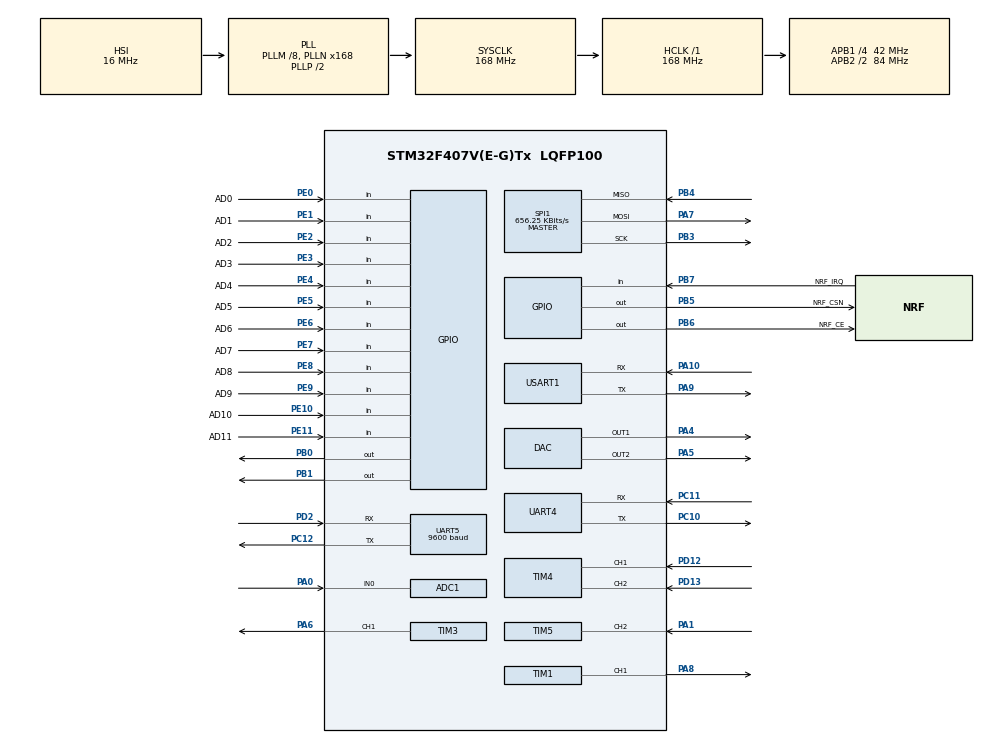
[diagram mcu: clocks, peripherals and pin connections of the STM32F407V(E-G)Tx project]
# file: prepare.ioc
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ADC1.Channel-0\#ChannelRegularConversion=ADC_CHANNEL_0
ADC1.DMAContinuousRequests=ENABLE
ADC1.ExternalTrigConv=ADC_EXTERNALTRIGCONV_T2_TRGO
ADC1.NbrOfConversionFlag=1
ADC1.Rank-0\#ChannelRegularConversion=1
ADC1.SamplingTime-0\#ChannelRegularConversion=ADC_SAMPLETIME_144CYCLES
ADC1.master=1
DAC.DAC_Trigger=DAC_TRIGGER_T6_TRGO
DAC.DAC_Trigger2=DAC_TRIGGER_SOFTWARE
Dma.ADC1.0.Direction=DMA_PERIPH_TO_MEMORY
Dma.ADC1.0.FIFOMode=DMA_FIFOMODE_DISABLE
Dma.ADC1.0.Instance=DMA2_Stream0
Dma.ADC1.0.MemDataAlignment=DMA_MDATAALIGN_HALFWORD
Dma.ADC1.0.MemInc=DMA_MINC_ENABLE
Dma.ADC1.0.Mode=DMA_CIRCULAR
Dma.ADC1.0.PeriphDataAlignment=DMA_PDATAALIGN_HALFWORD
Dma.ADC1.0.PeriphInc=DMA_PINC_DISABLE
Dma.ADC1.0.Priority=DMA_PRIORITY_VERY_HIGH
Dma.DAC1.2.Direction=DMA_MEMORY_TO_PERIPH
Dma.DAC1.2.FIFOMode=DMA_FIFOMODE_DISABLE
Dma.DAC1.2.Instance=DMA1_Stream5
Dma.DAC1.2.MemDataAlignment=DMA_MDATAALIGN_HALFWORD
Dma.DAC1.2.MemInc=DMA_MINC_ENABLE
Dma.DAC1.2.Mode=DMA_CIRCULAR
Dma.DAC1.2.PeriphDataAlignment=DMA_PDATAALIGN_HALFWORD
Dma.DAC1.2.PeriphInc=DMA_PINC_DISABLE
Dma.DAC1.2.Priority=DMA_PRIORITY_HIGH
Dma.Request0=ADC1
Dma.Request1=UART4_TX
Dma.Request2=DAC1
Dma.UART4_TX.1.Direction=DMA_MEMORY_TO_PERIPH
Dma.UART4_TX.1.FIFOMode=DMA_FIFOMODE_DISABLE
Dma.UART4_TX.1.Instance=DMA1_Stream4
Dma.UART4_TX.1.MemDataAlignment=DMA_MDATAALIGN_BYTE
Dma.UART4_TX.1.MemInc=DMA_MINC_ENABLE
Dma.UART4_TX.1.Mode=DMA_NORMAL
Dma.UART4_TX.1.PeriphDataAlignment=DMA_PDATAALIGN_BYTE
Dma.UART4_TX.1.PeriphInc=DMA_PINC_DISABLE
Dma.UART4_TX.1.Priority=DMA_PRIORITY_LOW
Mcu.Family=STM32F4
Mcu.Name=STM32F407V(E-G)Tx
Mcu.Package=LQFP100
NVIC.DMA1_Stream4_IRQn=true\:0\:0\:false\:false\:true\:false\:true\:true
NVIC.DMA1_Stream5_IRQn=true\:0\:0\:false\:false\:true\:false\:true\:true
NVIC.DMA2_Stream0_IRQn=true\:0\:0\:false\:false\:true\:false\:true\:true
NVIC.PriorityGroup=NVIC_PRIORITYGROUP_4
NVIC.RCC_IRQn=true\:0\:0\:false\:false\:true\:true\:false\:true
NVIC.TIM1_UP_TIM10_IRQn=true\:0\:0\:false\:false\:true\:true\:true\:true
NVIC.TIM5_IRQn=true\:0\:0\:false\:false\:true\:true\:true\:true
PA0-WKUP.Signal=ADCx_IN0
PA1.Signal=S_TIM5_CH2
PA10.Mode=Asynchronous
PA10.Signal=USART1_RX
PA13.Mode=Serial_Wire
PA13.Signal=SYS_JTMS-SWDIO
PA14.Mode=Serial_Wire
PA14.Signal=SYS_JTCK-SWCLK
PA4.Signal=COMP_DAC1_group
PA5.Signal=COMP_DAC2_group
PA6.Signal=S_TIM3_CH1
PA7.Mode=Full_Duplex_Master
PA7.Signal=SPI1_MOSI
PA8.Signal=S_TIM1_CH1
PA9.Mode=Asynchronous
PA9.Signal=USART1_TX
PB0.GPIO_PuPd=GPIO_NOPULL
PB0.GPIO_Speed=GPIO_SPEED_FREQ_HIGH
PB0.Signal=GPIO_Output
PB1.GPIO_ModeDefaultOutputPP=GPIO_MODE_OUTPUT_PP
PB1.GPIO_PuPd=GPIO_NOPULL
PB1.GPIO_Speed=GPIO_SPEED_FREQ_HIGH
PB1.Signal=GPIO_Output
PB3.Mode=Full_Duplex_Master
PB3.Signal=SPI1_SCK
PB4.Mode=Full_Duplex_Master
PB4.Signal=SPI1_MISO
PB5.GPIO_Label=NRF_CSN
PB5.GPIO_Speed=GPIO_SPEED_FREQ_HIGH
PB5.Signal=GPIO_Output
PB6.GPIO_Label=NRF_CE
PB6.GPIO_Speed=GPIO_SPEED_FREQ_HIGH
PB6.Signal=GPIO_Output
PB7.GPIO_Label=NRF_IRQ
PB7.GPIO_PuPd=GPIO_PULLUP
PB7.Signal=GPIO_Input
PC10.Mode=Asynchronous
PC10.Signal=UART4_TX
PC11.Mode=Asynchronous
PC11.Signal=UART4_RX
PC12.Mode=Asynchronous
PC12.Signal=UART5_TX
PC14-OSC32_IN.Mode=LSE-External-Oscillator
PC14-OSC32_IN.Signal=RCC_OSC32_IN
PC15-OSC32_OUT.Mode=LSE-External-Oscillator
PC15-OSC32_OUT.Signal=RCC_OSC32_OUT
PD12.Signal=S_TIM4_CH1
PD13.Signal=S_TIM4_CH2
PD2.Mode=Asynchronous
PD2.Signal=UART5_RX
PE0.GPIO_Label=AD0
PE0.GPIO_PuPd=GPIO_NOPULL
PE0.Signal=GPIO_Input
PE1.GPIO_Label=AD1
PE1.GPIO_Mode=GPIO_MODE_INPUT
PE1.Signal=GPIO_Input
PE10.GPIO_Label=AD10
PE10.Signal=GPIO_Input
PE11.GPIO_Label=AD11
PE11.Signal=GPIO_Input
PE2.GPIO_Label=AD2
PE2.Signal=GPIO_Input
PE3.GPIO_Label=AD3
PE3.Signal=GPIO_Input
PE4.GPIO_Label=AD4
PE4.Signal=GPIO_Input
PE5.GPIO_Label=AD5
PE5.Signal=GPIO_Input
PE6.GPIO_Label=AD6
PE6.Signal=GPIO_Input
PE7.GPIO_Label=AD7
PE7.Signal=GPIO_Input
PE8.GPIO_Label=AD8
PE8.Signal=GPIO_Input
PE9.GPIO_Label=AD9
PE9.Signal=GPIO_Input
PH0-OSC_IN.Mode=HSE-External-Oscillator
PH0-OSC_IN.Signal=RCC_OSC_IN
PH1-OSC_OUT.Mode=HSE-External-Oscillator
PH1-OSC_OUT.Signal=RCC_OSC_OUT
ProjectManager.HeapSize=0x200
ProjectManager.StackSize=0x400
ProjectManager.TargetToolchain=MDK-ARM V5.32
RCC.48MHZClocksFreq_Value=84000000
RCC.AHBFreq_Value=168000000
RCC.APB1CLKDivider=RCC_HCLK_DIV4
RCC.APB1Freq_Value=42000000
RCC.APB1TimFreq_Value=84000000
RCC.APB2CLKDivider=RCC_HCLK_DIV2
RCC.APB2Freq_Value=84000000
RCC.APB2TimFreq_Value=168000000
RCC.CortexFreq_Value=168000000
RCC.HCLKFreq_Value=168000000
RCC.HSE_VALUE=25000000
RCC.HSI_VALUE=16000000
RCC.PLLM=8
RCC.PLLN=168
RCC.SYSCLKFreq_VALUE=168000000
RCC.SYSCLKSource=RCC_SYSCLKSOURCE_PLLCLK
RCC.VCOOutputFreq_Value=336000000
SH.ADCx_IN0.0=ADC1_IN0,IN0
SH.COMP_DAC1_group.0=DAC_OUT1,DAC_OUT1
SH.COMP_DAC2_group.0=DAC_OUT2,DAC_OUT2
SH.S_TIM1_CH1.0=TIM1_CH1,PWM Generation1 CH1
SH.S_TIM3_CH1.0=TIM3_CH1,PWM Generation1 CH1
SH.S_TIM4_CH1.0=TIM4_CH1,Encoder_Interface
SH.S_TIM4_CH2.0=TIM4_CH2,Encoder_Interface
SH.S_TIM5_CH2.0=TIM5_CH2,Input_Capture2_from_TI2
SPI1.BaudRatePrescaler=SPI_BAUDRATEPRESCALER_128
SPI1.CalculateBaudRate=656.25 KBits/s
SPI1.Direction=SPI_DIRECTION_2LINES
SPI1.Mode=SPI_MODE_MASTER
SPI1.VirtualType=VM_MASTER
TIM1.Channel-PWM\ Generation1\ CH1=TIM_CHANNEL_1
TIM1.Period=40
TIM1.Pulse-PWM\ Generation1\ CH1=20
TIM2.Period=49
TIM2.Prescaler=83
TIM2.TIM_MasterOutputTrigger=TIM_TRGO_UPDATE
TIM2.TIM_MasterSlaveMode=TIM_MASTERSLAVEMODE_DISABLE
TIM3.Channel-PWM\ Generation1\ CH1=TIM_CHANNEL_1
TIM3.Period=4199
TIM4.EncoderMode=TIM_ENCODERMODE_TI12
TIM5.Channel-Input_Capture2_from_TI2=TIM_CHANNEL_2
TIM5.ClockDivision=TIM_CLOCKDIVISION_DIV2
TIM5.Period=4294967294
TIM6.AutoReloadPreload=TIM_AUTORELOAD_PRELOAD_ENABLE
TIM6.Period=999
TIM6.Prescaler=83
TIM6.TIM_MasterOutputTrigger=TIM_TRGO_UPDATE
UART4.VirtualMode=Asynchronous
UART5.BaudRate=9600
UART5.VirtualMode=Asynchronous
USART1.VirtualMode=VM_ASYNC
VP_TIM1_VS_ClockSourceINT.Mode=Internal
VP_TIM2_VS_ClockSourceINT.Mode=Internal
VP_TIM3_VS_ClockSourceINT.Mode=Internal
VP_TIM5_VS_ClockSourceINT.Mode=Internal
VP_TIM6_VS_ClockSourceINT.Mode=Enable_Timer
board=custom

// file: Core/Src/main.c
/* USER CODE BEGIN Header */
/**
  ******************************************************************************
  * @file           : main.c
  * @brief          : Main program body
  ******************************************************************************
  * @attention
  *
  * Copyright (c) 2026 STMicroelectronics.
  * All rights reserved.
  *
  * This software is licensed under terms that can be found in the LICENSE file
  * in the root directory of this software component.
  * If no LICENSE file comes with this software, it is provided AS-IS.
  *
  ******************************************************************************
  */
/* USER CODE END Header */
#include "main.h"
#include "adc.h"
#include "dac.h"
#include "dma.h"
#include "spi.h"
#include "tim.h"
#include "usart.h"
#include "gpio.h"

/* USER CODE BEGIN Includes */
#include "ad9226_debug_nogain.h"
#include "screen_protocol.h"
#include "ui_controller.h"
#include "g_signal_measurement.h"
#include "g_signal_u.h"
#include "g_signal_pc_debug.h"
/* USER CODE END Includes */

/* USER CODE BEGIN PD */
#define AD9226_DEBUG_ENABLE        0U
#define INTERNAL_ADC_DEBUG_ENABLE  0U
#define DAC8830_DEBUG_ENABLE       0U
#define G_SIGNAL_ENABLE             1U
/* USER CODE END PD */

void SystemClock_Config(void);

int main(void)
{

  /* MCU Configuration--------------------------------------------------------*/

  /* Reset of all peripherals, Initializes the Flash interface and the Systick. */
  HAL_Init();

  /* Configure the system clock */
  SystemClock_Config();

  /* Initialize all configured peripherals */
  MX_GPIO_Init();
  MX_DMA_Init();
  MX_UART4_Init();
  MX_ADC1_Init();
  MX_TIM2_Init();
  MX_UART5_Init();
  MX_DAC_Init();
  MX_TIM3_Init();
  MX_TIM4_Init();
  MX_TIM5_Init();
  MX_TIM6_Init();
  MX_SPI1_Init();
  MX_USART1_UART_Init();
  MX_TIM1_Init();
  /* USER CODE BEGIN 2 */
  HAL_UART_Transmit(&huart1, (uint8_t *)"BOOT\r\n", 6, 100);
#if AD9226_DEBUG_ENABLE
  if (AD9226_Debug_Init(&htim1, &huart1) != HAL_OK)
  {
    HAL_UART_Transmit(&huart1, (uint8_t *)"AD9226_INIT_FAIL\r\n", 18, 100);
    Error_Handler();
  }
  HAL_UART_Transmit(&huart1, (uint8_t *)"AD9226_INIT_OK\r\n", 16, 100);
#endif
#if INTERNAL_ADC_DEBUG_ENABLE
  if (ADC_Internal_Debug_Init(&hadc1, &htim2, &huart1) != HAL_OK)
  {
    Error_Handler();
  }
#endif
#if DAC8830_DEBUG_ENABLE
  if (DAC8830_Init(&hspi1) != HAL_OK)
  {
    Error_Handler();
  }
  if (DAC8830_CLI_Init(&huart1) != HAL_OK)
  {
    Error_Handler();
  }
#endif
  Screen_Init();
  UI_Controller_Init();
#if G_SIGNAL_ENABLE
  GSignal_PCDebug_Init(&huart1);
  if (GSignal_Init(&htim1) != HAL_OK)
  {
    HAL_UART_Transmit(&huart1, (uint8_t *)"GSIGNAL_INIT_FAIL\r\n", 19, 100);
    Error_Handler();
  }
  if (GSignalU_Init(&htim1) != HAL_OK)
  {
    HAL_UART_Transmit(&huart1, (uint8_t *)"GSIGNALU_INIT_FAIL\r\n", 20, 100);
    Error_Handler();
  }
  HAL_UART_Transmit(&huart1, (uint8_t *)"GSIGNAL_INIT_OK\r\n", 17, 100);
  /* 不自动触发采集，由串口屏令牌触发（比赛模式） */
#endif
  /* USER CODE END 2 */

  /* Infinite loop */
  /* USER CODE BEGIN WHILE */
  while (1)
  {
#if AD9226_DEBUG_ENABLE
    AD9226_Debug_Process();
#endif
#if INTERNAL_ADC_DEBUG_ENABLE
    ADC_Internal_Debug_Process();
#endif
#if DAC8830_DEBUG_ENABLE
    DAC8830_CLI_Process();
#endif
    Screen_Process();
    UI_Controller_Process();
#if G_SIGNAL_ENABLE
    GSignal_Process();
#endif
    /* USER CODE END WHILE */

  }
}

void SystemClock_Config(void)
{
  RCC_OscInitTypeDef RCC_OscInitStruct = {0};
  RCC_ClkInitTypeDef RCC_ClkInitStruct = {0};

  /** Configure the main internal regulator output voltage
  */
  __HAL_RCC_PWR_CLK_ENABLE();
  __HAL_PWR_VOLTAGESCALING_CONFIG(PWR_REGULATOR_VOLTAGE_SCALE1);

  /** Initializes the RCC Oscillators according to the specified parameters
  * in the RCC_OscInitTypeDef structure.
  */
  RCC_OscInitStruct.OscillatorType = RCC_OSCILLATORTYPE_HSI;
  RCC_OscInitStruct.HSIState = RCC_HSI_ON;
  RCC_OscInitStruct.HSICalibrationValue = RCC_HSICALIBRATION_DEFAULT;
  RCC_OscInitStruct.PLL.PLLState = RCC_PLL_ON;
  RCC_OscInitStruct.PLL.PLLSource = RCC_PLLSOURCE_HSI;
  RCC_OscInitStruct.PLL.PLLM = 8;
  RCC_OscInitStruct.PLL.PLLN = 168;
  RCC_OscInitStruct.PLL.PLLP = RCC_PLLP_DIV2;
  RCC_OscInitStruct.PLL.PLLQ = 4;
  if (HAL_RCC_OscConfig(&RCC_OscInitStruct) != HAL_OK)
  {
    Error_Handler();
  }

  /** Initializes the CPU, AHB and APB buses clocks
  */
  RCC_ClkInitStruct.ClockType = RCC_CLOCKTYPE_HCLK|RCC_CLOCKTYPE_SYSCLK
                              |RCC_CLOCKTYPE_PCLK1|RCC_CLOCKTYPE_PCLK2;
  RCC_ClkInitStruct.SYSCLKSource = RCC_SYSCLKSOURCE_PLLCLK;
  RCC_ClkInitStruct.AHBCLKDivider = RCC_SYSCLK_DIV1;
  RCC_ClkInitStruct.APB1CLKDivider = RCC_HCLK_DIV4;
  RCC_ClkInitStruct.APB2CLKDivider = RCC_HCLK_DIV2;

  if (HAL_RCC_ClockConfig(&RCC_ClkInitStruct, FLASH_LATENCY_5) != HAL_OK)
  {
    Error_Handler();
  }
}

/* USER CODE BEGIN 4 */

void HAL_TIM_PeriodElapsedCallback(TIM_HandleTypeDef *htim)
{
#if AD9226_DEBUG_ENABLE
  if (htim->Instance == TIM1)
  {
    AD9226_Debug_TimPeriodElapsedCallback();
  }
#endif
}

/* HAL_UART_RxCpltCallback / HAL_UART_ErrorCallback 已在 usart.c 中定义，
 * 其中 USART1 分支调用 DAC8830_CLI_RxCpltCallback / DAC8830_CLI_UartErrorCallback。 */

/* USER CODE END 4 */

void Error_Handler(void)
{
  __disable_irq();
  while (1)
  {
  }
}
